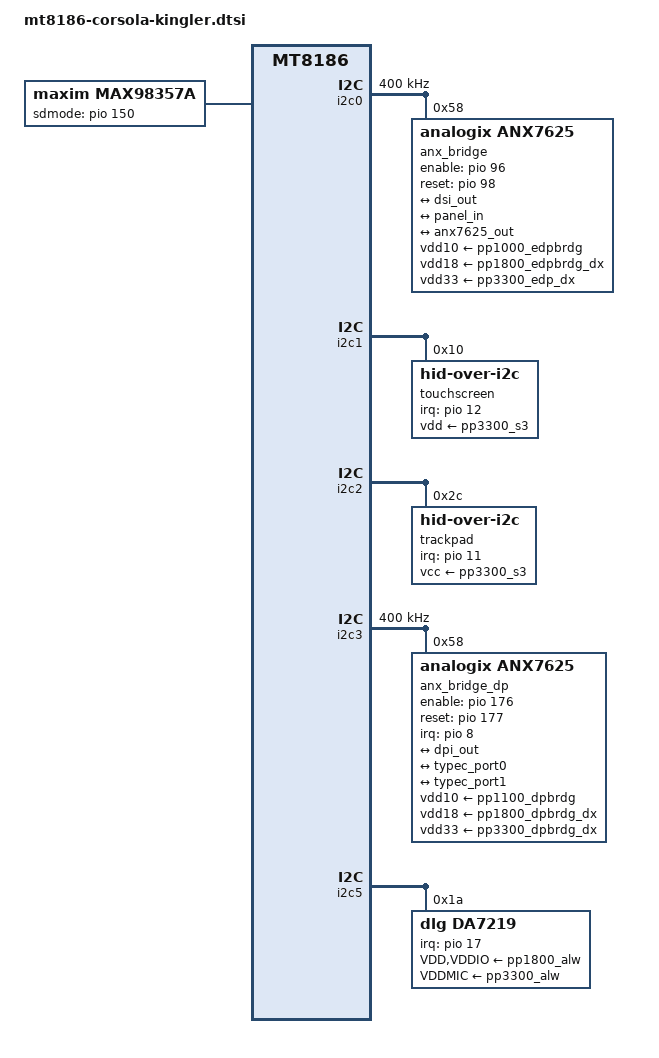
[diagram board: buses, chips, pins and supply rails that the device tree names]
// SPDX-License-Identifier: (GPL-2.0 OR MIT)
/*
 * Copyright 2022 Google LLC
 */

/dts-v1/;
#include "mt8186-corsola.dtsi"

/ {
	max98357a: max98357a {
		status = "okay";

		compatible = "maxim,max98357a";
		sdmode-gpios = <&pio 150 0>;
		#sound-dai-cells = <0>;
	};
};

&dsi_out {
	remote-endpoint = <&anx7625_in>;
};

&dpi_out {
	remote-endpoint = <&anx7625_dp_in>;
};

&i2c0 {
	clock-frequency = <400000>;

	anx_bridge: anx7625@58 {
		compatible = "analogix,anx7625";
		reg = <0x58>;
		pinctrl-names = "default";
		pinctrl-0 = <&anx7625_pins>;
		panel_flags = <1>;
		enable-gpios = <&pio 96 GPIO_ACTIVE_HIGH>;
		reset-gpios = <&pio 98 GPIO_ACTIVE_HIGH>;
		vdd10-supply = <&pp1000_edpbrdg>;
		vdd18-supply = <&pp1800_edpbrdg_dx>;
		vdd33-supply = <&pp3300_edp_dx>;
		#address-cells = <1>;
		#size-cells = <0>;

		port@0 {
			reg = <0>;

			anx7625_in: endpoint {
				remote-endpoint = <&dsi_out>;
				data-lanes = <0 1 2 3>;
			};
		};

		port@1 {
			reg = <1>;

			anx7625_out: endpoint {
				remote-endpoint = <&panel_in>;
			};
		};

		aux-bus {
			panel: panel {
				compatible = "edp-panel";
				power-supply = <&pp3300_disp_x>;
				backlight = <&backlight_lcd0>;

				port {
					panel_in: endpoint {
						remote-endpoint = <&anx7625_out>;
					};
				};
			};
		};
	};
};

&i2c1 {
	touchscreen@10 {
		compatible = "hid-over-i2c";
		reg = <0x10>;
		interrupt-parent = <&pio>;
		interrupts = <12 IRQ_TYPE_LEVEL_LOW>;
		pinctrl-names = "default";
		pinctrl-0 = <&touchscreen_pins>;
		post-power-on-delay-ms = <10>;
		hid-descr-addr = <0x0001>;
		vdd-supply = <&pp3300_s3>;
        };
};

&i2c2 {
	trackpad@2c {
		compatible = "hid-over-i2c";
		reg = <0x2c>;
		hid-descr-addr = <0x20>;
		pinctrl-names = "default";
		pinctrl-0 = <&trackpad_pins>;
		interrupts-extended = <&pio 11 IRQ_TYPE_LEVEL_LOW>;
		vcc-supply = <&pp3300_s3>;
		wakeup-source;
	};
};

&i2c3 {
	clock-frequency = <400000>;

	anx_bridge_dp: anx7625-dp@58 {
		compatible = "analogix,anx7625";
		reg = <0x58>;
		pinctrl-names = "default";
		pinctrl-0 = <&anx7625_dp_pins>;
		interrupt-parent = <&pio>;
		interrupts = <8 IRQ_TYPE_LEVEL_LOW>;
		enable-gpios = <&pio 176 GPIO_ACTIVE_HIGH>;
		reset-gpios = <&pio 177 GPIO_ACTIVE_HIGH>;
		vdd10-supply = <&pp1100_dpbrdg>;
		vdd18-supply = <&pp1800_dpbrdg_dx>;
		vdd33-supply = <&pp3300_dpbrdg_dx>;
		analogix,audio-enable;
		anx,tx-rx-to-two-ports;
		#address-cells = <1>;
		#size-cells = <0>;
		#sound-dai-cells = <0>;

		ports {
			#address-cells = <1>;
			#size-cells = <0>;

			port@0 {
				reg = <0>;
				anx7625_dp_in: endpoint {
					bus-type = <7>;
					remote-endpoint = <&dpi_out>;
				};
			};
		};

		switches {
			#address-cells = <1>;
			#size-cells = <0>;
			switch@0 {
				compatible = "typec-switch";
				reg = <0>;
				mode-switch;

				ports {
					#address-cells = <1>;
					#size-cells = <0>;
					port@0 {
						reg = <0>;
						anx_typec0: endpoint {
							remote-endpoint = <&typec_port0>;
						};
					};
				};
			};

			switch@1 {
				compatible = "typec-switch";
				reg = <1>;
				mode-switch;

				ports {
					#address-cells = <1>;
					#size-cells = <0>;
					port@0 {
						reg = <0>;
						anx_typec1: endpoint {
							remote-endpoint = <&typec_port1>;
						};
					};
				};
			};
		};
	};
};

&i2c5 {
	da7219: da7219@1a {
		pinctrl-names = "default";
		pinctrl-0 = <&da7219_pins>;
		compatible = "dlg,da7219";
		reg = <0x1a>;
		interrupt-parent = <&pio>;
		interrupts = <17 IRQ_TYPE_LEVEL_LOW 17 0>;
		dlg,micbias-lvl = <2600>;
		dlg,mic-amp-in-sel = "diff";
		VDD-supply = <&pp1800_alw>;
		VDDMIC-supply = <&pp3300_alw>;
		VDDIO-supply = <&pp1800_alw>;
		#sound-dai-cells = <0>;

		da7219-aad {
			dlg,adc-1bit-rpt = <1>;
			dlg,btn-avg = <4>;
			dlg,btn-cfg = <50>;
			dlg,mic-det-thr = <500>;
			dlg,jack-ins-deb = <20>;
			dlg,jack-det-rate = "32ms_64ms";
			dlg,jack-rem-deb = <1>;
			dlg,a-d-btn-thr = <0xa>;
			dlg,d-b-btn-thr = <0x16>;
			dlg,b-c-btn-thr = <0x21>;
			dlg,c-mic-btn-thr = <0x3E>;
		};
	};
};

&mmc1_pins_uhs {
	pins-clk {
		drive-strength = <MTK_DRIVE_8mA>;
	};
};

&pio {
	/* dp brigde anx7625bh */
	anx7625_dp_pins: anx7625bh-pins {
		pins1 {
			pinmux = <PINMUX_GPIO176__FUNC_GPIO176>,
				 <PINMUX_GPIO177__FUNC_GPIO177>;
			output-low;
		};

		pins2 {
			pinmux = <PINMUX_GPIO8__FUNC_GPIO8>;
			input-enable;
			bias-pull-up;
		};
	};
};

&sound {
	status = "okay";

	compatible = "mediatek,mt8186-mt6366-da7219-max98357-sound";
	mediatek,adsp = <&adsp>;

	playback-codecs {
		sound-dai = <&anx_bridge_dp>,
			    <&max98357a>;
	};

	headset-codec {
		sound-dai = <&da7219>;
	};
};

&typec_port0 {
	remote-endpoint = <&anx_typec0>;
};

&typec_port1 {
	remote-endpoint = <&anx_typec1>;
};
